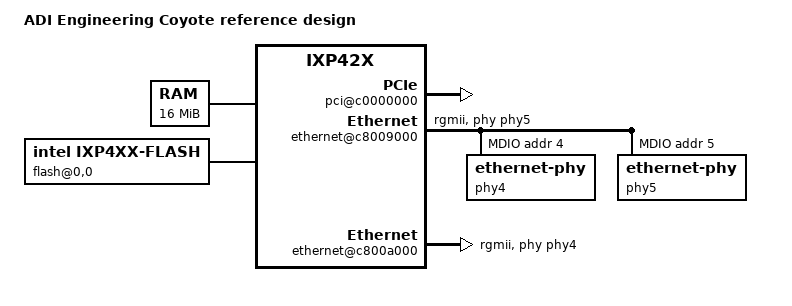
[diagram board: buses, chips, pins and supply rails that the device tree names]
// SPDX-License-Identifier: ISC
/*
 * Device Tree file for ADI Engineering Coyote platform.
 * Derived from boardfiles written by MontaVista software.
 * Ethernet set-up from OpenWrt.
 */

/dts-v1/;

#include "intel-ixp42x.dtsi"
#include <dt-bindings/input/input.h>

/ {
	model = "ADI Engineering Coyote reference design";
	compatible = "adieng,coyote", "intel,ixp42x";
	#address-cells = <1>;
	#size-cells = <1>;

	memory@0 {
		/* CHECKME: 16 MB SDRAM minimum, maybe the Coyote actually has more */
		device_type = "memory";
		reg = <0x00000000 0x01000000>;
	};

	chosen {
		bootargs = "console=ttyS0,115200n8 root=/dev/sda1 rw rootwait";
		stdout-path = "uart1:115200n8";
	};

	aliases {
		/* These are switched around */
		serial0 = &uart1;
		serial1 = &uart0;
	};

	soc {
		bus@c4000000 {
			flash@0,0 {
				compatible = "intel,ixp4xx-flash", "cfi-flash";
				bank-width = <2>;
				/*
				 * 32 MB of Flash in 128 0x20000 sized blocks
				 * mapped in at CS0 and CS1
				 */
				reg = <0 0x00000000 0x2000000>;

				/* Configure expansion bus to allow writes */
				intel,ixp4xx-eb-write-enable = <1>;

				partitions {
					compatible = "redboot-fis";
					/* CHECKME: guess this is Redboot FIS */
					fis-index-block = <0x1ff>;
				};
			};
		};

		pci@c0000000 {
			status = "ok";

			/*
			 * Taken from Coyote PCI boardfile.
			 * We have slots (IDSEL) 1 and 2 with one assigned IRQ
			 * each handling all IRQs.
			 */
			interrupt-map =
			/* IDSEL 1 */
			<0x0800 0 0 1 &gpio0 6 IRQ_TYPE_LEVEL_LOW>, /* INT A on slot 1 is irq 6 */
			<0x0800 0 0 2 &gpio0 6 IRQ_TYPE_LEVEL_LOW>, /* INT B on slot 1 is irq 6 */
			<0x0800 0 0 3 &gpio0 6 IRQ_TYPE_LEVEL_LOW>, /* INT C on slot 1 is irq 6 */
			<0x0800 0 0 4 &gpio0 6 IRQ_TYPE_LEVEL_LOW>, /* INT D on slot 1 is irq 6 */
			/* IDSEL 2 */
			<0x1000 0 0 1 &gpio0 11 IRQ_TYPE_LEVEL_LOW>, /* INT A on slot 2 is irq 11 */
			<0x1000 0 0 2 &gpio0 11 IRQ_TYPE_LEVEL_LOW>, /* INT B on slot 2 is irq 11 */
			<0x1000 0 0 3 &gpio0 11 IRQ_TYPE_LEVEL_LOW>, /* INT C on slot 2 is irq 11 */
			<0x1000 0 0 4 &gpio0 11 IRQ_TYPE_LEVEL_LOW>; /* INT D on slot 2 is irq 11 */
		};

		/* EthB */
		ethernet@c8009000 {
			status = "ok";
			queue-rx = <&qmgr 3>;
			queue-txready = <&qmgr 20>;
			phy-mode = "rgmii";
			phy-handle = <&phy5>;

			mdio {
				#address-cells = <1>;
				#size-cells = <0>;

				phy4: ethernet-phy@4 {
					reg = <4>;
				};

				phy5: ethernet-phy@5 {
					reg = <5>;
				};
			};
		};

		/* EthC */
		ethernet@c800a000 {
			status = "ok";
			queue-rx = <&qmgr 4>;
			queue-txready = <&qmgr 21>;
			phy-mode = "rgmii";
			phy-handle = <&phy4>;
		};
	};
};
